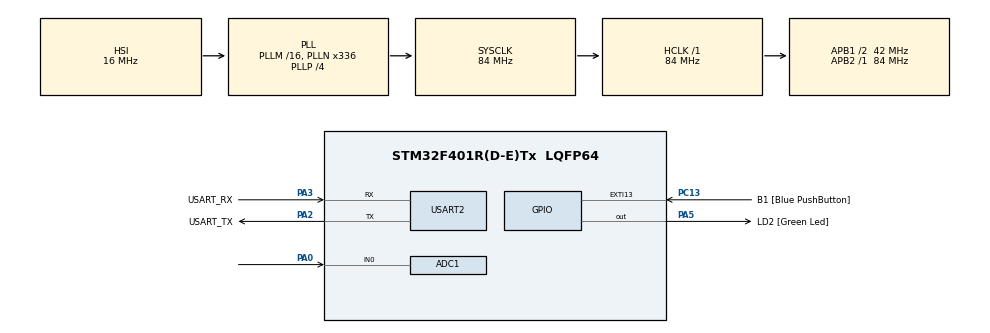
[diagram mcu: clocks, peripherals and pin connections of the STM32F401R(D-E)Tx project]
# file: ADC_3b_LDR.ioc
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ADC1.Channel-0\#ChannelRegularConversion=ADC_CHANNEL_0
ADC1.DMAContinuousRequests=ENABLE
ADC1.ExternalTrigConv=ADC_EXTERNALTRIGCONV_T2_TRGO
ADC1.NbrOfConversionFlag=1
ADC1.Rank-0\#ChannelRegularConversion=1
ADC1.SamplingTime-0\#ChannelRegularConversion=ADC_SAMPLETIME_480CYCLES
ADC1.master=1
Dma.ADC1.0.Direction=DMA_PERIPH_TO_MEMORY
Dma.ADC1.0.FIFOMode=DMA_FIFOMODE_DISABLE
Dma.ADC1.0.Instance=DMA2_Stream0
Dma.ADC1.0.MemDataAlignment=DMA_MDATAALIGN_HALFWORD
Dma.ADC1.0.MemInc=DMA_MINC_ENABLE
Dma.ADC1.0.Mode=DMA_CIRCULAR
Dma.ADC1.0.PeriphDataAlignment=DMA_PDATAALIGN_HALFWORD
Dma.ADC1.0.PeriphInc=DMA_PINC_DISABLE
Dma.ADC1.0.Priority=DMA_PRIORITY_HIGH
Dma.Request0=ADC1
Dma.Request1=USART2_TX
Dma.USART2_TX.1.Direction=DMA_MEMORY_TO_PERIPH
Dma.USART2_TX.1.FIFOMode=DMA_FIFOMODE_DISABLE
Dma.USART2_TX.1.Instance=DMA1_Stream6
Dma.USART2_TX.1.MemDataAlignment=DMA_MDATAALIGN_BYTE
Dma.USART2_TX.1.MemInc=DMA_MINC_ENABLE
Dma.USART2_TX.1.Mode=DMA_NORMAL
Dma.USART2_TX.1.PeriphDataAlignment=DMA_PDATAALIGN_BYTE
Dma.USART2_TX.1.PeriphInc=DMA_PINC_DISABLE
Dma.USART2_TX.1.Priority=DMA_PRIORITY_HIGH
Mcu.Family=STM32F4
Mcu.Name=STM32F401R(D-E)Tx
Mcu.Package=LQFP64
NVIC.ADC_IRQn=true\:0\:0\:false\:false\:true\:true\:true\:true
NVIC.DMA1_Stream6_IRQn=true\:0\:0\:false\:false\:true\:false\:true\:true
NVIC.DMA2_Stream0_IRQn=true\:0\:0\:false\:false\:true\:false\:true\:true
NVIC.PriorityGroup=NVIC_PRIORITYGROUP_0
NVIC.USART2_IRQn=true\:0\:0\:false\:false\:true\:true\:true\:true
PA0-WKUP.Signal=SharedAnalog_PA0
PA13.GPIO_Label=TMS
PA13.Mode=Serial_Wire
PA13.Signal=SYS_JTMS-SWDIO
PA14.GPIO_Label=TCK
PA14.Mode=Serial_Wire
PA14.Signal=SYS_JTCK-SWCLK
PA2.GPIO_Label=USART_TX
PA2.GPIO_Mode=GPIO_MODE_AF_PP
PA2.GPIO_PuPd=GPIO_NOPULL
PA2.GPIO_Speed=GPIO_SPEED_FREQ_LOW
PA2.Mode=Asynchronous
PA2.Signal=USART2_TX
PA3.GPIO_Label=USART_RX
PA3.GPIO_Mode=GPIO_MODE_AF_PP
PA3.GPIO_PuPd=GPIO_NOPULL
PA3.GPIO_Speed=GPIO_SPEED_FREQ_LOW
PA3.Mode=Asynchronous
PA3.Signal=USART2_RX
PA5.GPIO_Label=LD2 [Green Led]
PA5.GPIO_Mode=GPIO_MODE_OUTPUT_PP
PA5.GPIO_PuPd=GPIO_NOPULL
PA5.GPIO_Speed=GPIO_SPEED_FREQ_LOW
PA5.Signal=GPIO_Output
PB3.GPIO_Label=SWO
PB3.Signal=SYS_JTDO-SWO
PC13-ANTI_TAMP.GPIO_Label=B1 [Blue PushButton]
PC13-ANTI_TAMP.GPIO_ModeDefaultEXTI=GPIO_MODE_IT_FALLING
PC13-ANTI_TAMP.GPIO_PuPd=GPIO_NOPULL
PC13-ANTI_TAMP.Signal=GPXTI13
PC14-OSC32_IN.Mode=LSE-External-Oscillator
PC14-OSC32_IN.Signal=RCC_OSC32_IN
PC15-OSC32_OUT.Mode=LSE-External-Oscillator
PC15-OSC32_OUT.Signal=RCC_OSC32_OUT
PH0\ -\ OSC_IN.Mode=HSE-External-Clock-Source
PH0\ -\ OSC_IN.Signal=RCC_OSC_IN
PH1\ -\ OSC_OUT.Mode=HSE-External-Clock-Source
PH1\ -\ OSC_OUT.Signal=RCC_OSC_OUT
ProjectManager.HeapSize=0x200
ProjectManager.StackSize=0x400
ProjectManager.TargetToolchain=STM32CubeIDE
RCC.48MHZClocksFreq_Value=48000000
RCC.AHBFreq_Value=84000000
RCC.APB1CLKDivider=RCC_HCLK_DIV2
RCC.APB1Freq_Value=42000000
RCC.APB1TimFreq_Value=84000000
RCC.APB2Freq_Value=84000000
RCC.APB2TimFreq_Value=84000000
RCC.CortexFreq_Value=84000000
RCC.HCLKFreq_Value=84000000
RCC.HSE_VALUE=8000000
RCC.HSI_VALUE=16000000
RCC.PLLN=336
RCC.PLLP=RCC_PLLP_DIV4
RCC.PLLQ=7
RCC.SYSCLKFreq_VALUE=84000000
RCC.SYSCLKSource=RCC_SYSCLKSOURCE_PLLCLK
RCC.VCOOutputFreq_Value=336000000
SH.SharedAnalog_PA0.0=GPIO_Analog
SH.SharedAnalog_PA0.1=ADC1_IN0,IN0
TIM2.Period=(TEMPO*10)-1
TIM2.Prescaler=8400 - 1
TIM2.TIM_MasterOutputTrigger=TIM_TRGO_UPDATE
USART2.VirtualMode=VM_ASYNC
VP_TIM2_VS_ClockSourceINT.Mode=Internal
board=NUCLEO-F401RE

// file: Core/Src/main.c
/* USER CODE BEGIN Header */
/**
  ******************************************************************************
  * @file           : main.c
  * @brief          : Main program body
  ******************************************************************************
  * @attention
  *
  * Copyright (c) 2024 STMicroelectronics.
  * All rights reserved.
  *
  * This software is licensed under terms that can be found in the LICENSE file
  * in the root directory of this software component.
  * If no LICENSE file comes with this software, it is provided AS-IS.
  *
  ******************************************************************************
  */
/* USER CODE END Header */
#include "main.h"

/* USER CODE BEGIN Includes */
#include "math.h"
/* USER CODE END Includes */

/* USER CODE BEGIN PD */
#define VDDA 3.3
#define VSSA 0
#define resolution_bits 12

#define TEMPO 1				 //1 = 1ms, 10 = 10ms ...
#define buffer_length 1000   //buffer dimension
/* USER CODE END PD */

ADC_HandleTypeDef hadc1;
DMA_HandleTypeDef hdma_adc1;

TIM_HandleTypeDef htim2;

UART_HandleTypeDef huart2;
DMA_HandleTypeDef hdma_usart2_tx;

/* USER CODE BEGIN PV */
int FSR;					//full scale range
int resolution_steps;		//resolution_step is 2^resolution_bits

uint16_t in0_data[buffer_length];   //buffer that contains ADC sampled values
float    sum = 0;					//it contains the sum of all the in0_data, it will be used to compute the average
float    average;					//it contains the average of all the in0_data
float    average_volt = 0; 			//average of the data expressed in volt

float ldr;					//light detection resistance
float lux;					//brightness measurements units

char string[100];			//it contains the string that will be sent via UART
int  string_length;
/* USER CODE END PV */

void SystemClock_Config(void);
static void MX_GPIO_Init(void);
static void MX_DMA_Init(void);
static void MX_USART2_UART_Init(void);
static void MX_ADC1_Init(void);
static void MX_TIM2_Init(void);

/* USER CODE BEGIN 0 */

void HAL_ADC_ConvHalfCpltCallback(ADC_HandleTypeDef *hadc)
{

	for(int i = 0; i <= (buffer_length/2) - 1; i++) //process the first half of the data
	{
		sum = sum + in0_data[i]; //sum of the first half of the data
	}

}

void HAL_ADC_ConvCpltCallback(ADC_HandleTypeDef* hadc)
{

	for(int i = buffer_length/2; i <= buffer_length - 1; i++) //process the second half of the data
	{
		sum = sum + in0_data[i]; //sum of the first half of the data
	}

	average = sum/buffer_length;							  //average of all the data

	average_volt = average*FSR/resolution_steps;	  //average value converted in volt

	ldr = (average_volt*100000)/(FSR - average_volt); //light detection resistance computation
	lux = 10*pow((100000/ldr), 1.25);				  //brightness measurements units computation

	string_length = snprintf(string, sizeof(string), "LDR %.3f, LUX %.3f \n", ldr, lux); //converts the values into strings

	sum = 0;	//reset sum to 0, ready to be processed in a new ADC callback

	HAL_UART_Transmit_DMA(&huart2, string, string_length); //send the string to the PC via UART

}
/* USER CODE END 0 */

int main(void)
{

  /* MCU Configuration--------------------------------------------------------*/

  /* Reset of all peripherals, Initializes the Flash interface and the Systick. */
  HAL_Init();

  /* Configure the system clock */
  SystemClock_Config();

  /* Initialize all configured peripherals */
  MX_GPIO_Init();
  MX_DMA_Init();
  MX_USART2_UART_Init();
  MX_ADC1_Init();
  MX_TIM2_Init();
  /* USER CODE BEGIN 2 */
  HAL_TIM_Base_Start(&htim2);
  HAL_ADC_Start_DMA(&hadc1, in0_data, buffer_length);

  FSR = VDDA - VSSA; 							//set the full scale range value
  resolution_steps = (1) << resolution_bits; 	//resolution_step is 2^resolution_bits
  /* USER CODE END 2 */

  /* Infinite loop */
  while (1)
  {

  }
}

void SystemClock_Config(void)
{
  RCC_OscInitTypeDef RCC_OscInitStruct = {0};
  RCC_ClkInitTypeDef RCC_ClkInitStruct = {0};

  /** Configure the main internal regulator output voltage
  */
  __HAL_RCC_PWR_CLK_ENABLE();
  __HAL_PWR_VOLTAGESCALING_CONFIG(PWR_REGULATOR_VOLTAGE_SCALE2);

  /** Initializes the RCC Oscillators according to the specified parameters
  * in the RCC_OscInitTypeDef structure.
  */
  RCC_OscInitStruct.OscillatorType = RCC_OSCILLATORTYPE_HSI;
  RCC_OscInitStruct.HSIState = RCC_HSI_ON;
  RCC_OscInitStruct.HSICalibrationValue = RCC_HSICALIBRATION_DEFAULT;
  RCC_OscInitStruct.PLL.PLLState = RCC_PLL_ON;
  RCC_OscInitStruct.PLL.PLLSource = RCC_PLLSOURCE_HSI;
  RCC_OscInitStruct.PLL.PLLM = 16;
  RCC_OscInitStruct.PLL.PLLN = 336;
  RCC_OscInitStruct.PLL.PLLP = RCC_PLLP_DIV4;
  RCC_OscInitStruct.PLL.PLLQ = 7;
  if (HAL_RCC_OscConfig(&RCC_OscInitStruct) != HAL_OK)
  {
    Error_Handler();
  }

  /** Initializes the CPU, AHB and APB buses clocks
  */
  RCC_ClkInitStruct.ClockType = RCC_CLOCKTYPE_HCLK|RCC_CLOCKTYPE_SYSCLK
                              |RCC_CLOCKTYPE_PCLK1|RCC_CLOCKTYPE_PCLK2;
  RCC_ClkInitStruct.SYSCLKSource = RCC_SYSCLKSOURCE_PLLCLK;
  RCC_ClkInitStruct.AHBCLKDivider = RCC_SYSCLK_DIV1;
  RCC_ClkInitStruct.APB1CLKDivider = RCC_HCLK_DIV2;
  RCC_ClkInitStruct.APB2CLKDivider = RCC_HCLK_DIV1;

  if (HAL_RCC_ClockConfig(&RCC_ClkInitStruct, FLASH_LATENCY_2) != HAL_OK)
  {
    Error_Handler();
  }
}

static void MX_ADC1_Init(void)
{

  ADC_ChannelConfTypeDef sConfig = {0};

  /** Configure the global features of the ADC (Clock, Resolution, Data Alignment and number of conversion)
  */
  hadc1.Instance = ADC1;
  hadc1.Init.ClockPrescaler = ADC_CLOCK_SYNC_PCLK_DIV4;
  hadc1.Init.Resolution = ADC_RESOLUTION_12B;
  hadc1.Init.ScanConvMode = DISABLE;
  hadc1.Init.ContinuousConvMode = DISABLE;
  hadc1.Init.DiscontinuousConvMode = DISABLE;
  hadc1.Init.ExternalTrigConvEdge = ADC_EXTERNALTRIGCONVEDGE_RISING;
  hadc1.Init.ExternalTrigConv = ADC_EXTERNALTRIGCONV_T2_TRGO;
  hadc1.Init.DataAlign = ADC_DATAALIGN_RIGHT;
  hadc1.Init.NbrOfConversion = 1;
  hadc1.Init.DMAContinuousRequests = ENABLE;
  hadc1.Init.EOCSelection = ADC_EOC_SINGLE_CONV;
  if (HAL_ADC_Init(&hadc1) != HAL_OK)
  {
    Error_Handler();
  }

  /** Configure for the selected ADC regular channel its corresponding rank in the sequencer and its sample time.
  */
  sConfig.Channel = ADC_CHANNEL_0;
  sConfig.Rank = 1;
  sConfig.SamplingTime = ADC_SAMPLETIME_480CYCLES;
  if (HAL_ADC_ConfigChannel(&hadc1, &sConfig) != HAL_OK)
  {
    Error_Handler();
  }

}

static void MX_TIM2_Init(void)
{

  TIM_ClockConfigTypeDef sClockSourceConfig = {0};
  TIM_MasterConfigTypeDef sMasterConfig = {0};

  htim2.Instance = TIM2;
  htim2.Init.Prescaler = 8400 - 1;
  htim2.Init.CounterMode = TIM_COUNTERMODE_UP;
  htim2.Init.Period = (TEMPO*10)-1;
  htim2.Init.ClockDivision = TIM_CLOCKDIVISION_DIV1;
  htim2.Init.AutoReloadPreload = TIM_AUTORELOAD_PRELOAD_DISABLE;
  if (HAL_TIM_Base_Init(&htim2) != HAL_OK)
  {
    Error_Handler();
  }
  sClockSourceConfig.ClockSource = TIM_CLOCKSOURCE_INTERNAL;
  if (HAL_TIM_ConfigClockSource(&htim2, &sClockSourceConfig) != HAL_OK)
  {
    Error_Handler();
  }
  sMasterConfig.MasterOutputTrigger = TIM_TRGO_UPDATE;
  sMasterConfig.MasterSlaveMode = TIM_MASTERSLAVEMODE_DISABLE;
  if (HAL_TIMEx_MasterConfigSynchronization(&htim2, &sMasterConfig) != HAL_OK)
  {
    Error_Handler();
  }

}

static void MX_USART2_UART_Init(void)
{

  huart2.Instance = USART2;
  huart2.Init.BaudRate = 115200;
  huart2.Init.WordLength = UART_WORDLENGTH_8B;
  huart2.Init.StopBits = UART_STOPBITS_1;
  huart2.Init.Parity = UART_PARITY_NONE;
  huart2.Init.Mode = UART_MODE_TX_RX;
  huart2.Init.HwFlowCtl = UART_HWCONTROL_NONE;
  huart2.Init.OverSampling = UART_OVERSAMPLING_16;
  if (HAL_UART_Init(&huart2) != HAL_OK)
  {
    Error_Handler();
  }

}

static void MX_DMA_Init(void)
{

  /* DMA controller clock enable */
  __HAL_RCC_DMA2_CLK_ENABLE();
  __HAL_RCC_DMA1_CLK_ENABLE();

  /* DMA interrupt init */
  /* DMA1_Stream6_IRQn interrupt configuration */
  HAL_NVIC_SetPriority(DMA1_Stream6_IRQn, 0, 0);
  HAL_NVIC_EnableIRQ(DMA1_Stream6_IRQn);
  /* DMA2_Stream0_IRQn interrupt configuration */
  HAL_NVIC_SetPriority(DMA2_Stream0_IRQn, 0, 0);
  HAL_NVIC_EnableIRQ(DMA2_Stream0_IRQn);

}

static void MX_GPIO_Init(void)
{
  GPIO_InitTypeDef GPIO_InitStruct = {0};

  /* GPIO Ports Clock Enable */
  __HAL_RCC_GPIOC_CLK_ENABLE();
  __HAL_RCC_GPIOH_CLK_ENABLE();
  __HAL_RCC_GPIOA_CLK_ENABLE();
  __HAL_RCC_GPIOB_CLK_ENABLE();

  /*Configure GPIO pin Output Level */
  HAL_GPIO_WritePin(LD2_GPIO_Port, LD2_Pin, GPIO_PIN_RESET);

  /*Configure GPIO pin : B1_Pin */
  GPIO_InitStruct.Pin = B1_Pin;
  GPIO_InitStruct.Mode = GPIO_MODE_IT_FALLING;
  GPIO_InitStruct.Pull = GPIO_NOPULL;
  HAL_GPIO_Init(B1_GPIO_Port, &GPIO_InitStruct);

  /*Configure GPIO pin : LD2_Pin */
  GPIO_InitStruct.Pin = LD2_Pin;
  GPIO_InitStruct.Mode = GPIO_MODE_OUTPUT_PP;
  GPIO_InitStruct.Pull = GPIO_NOPULL;
  GPIO_InitStruct.Speed = GPIO_SPEED_FREQ_LOW;
  HAL_GPIO_Init(LD2_GPIO_Port, &GPIO_InitStruct);

}

void Error_Handler(void)
{
  __disable_irq();
  while (1)
  {
  }
}
